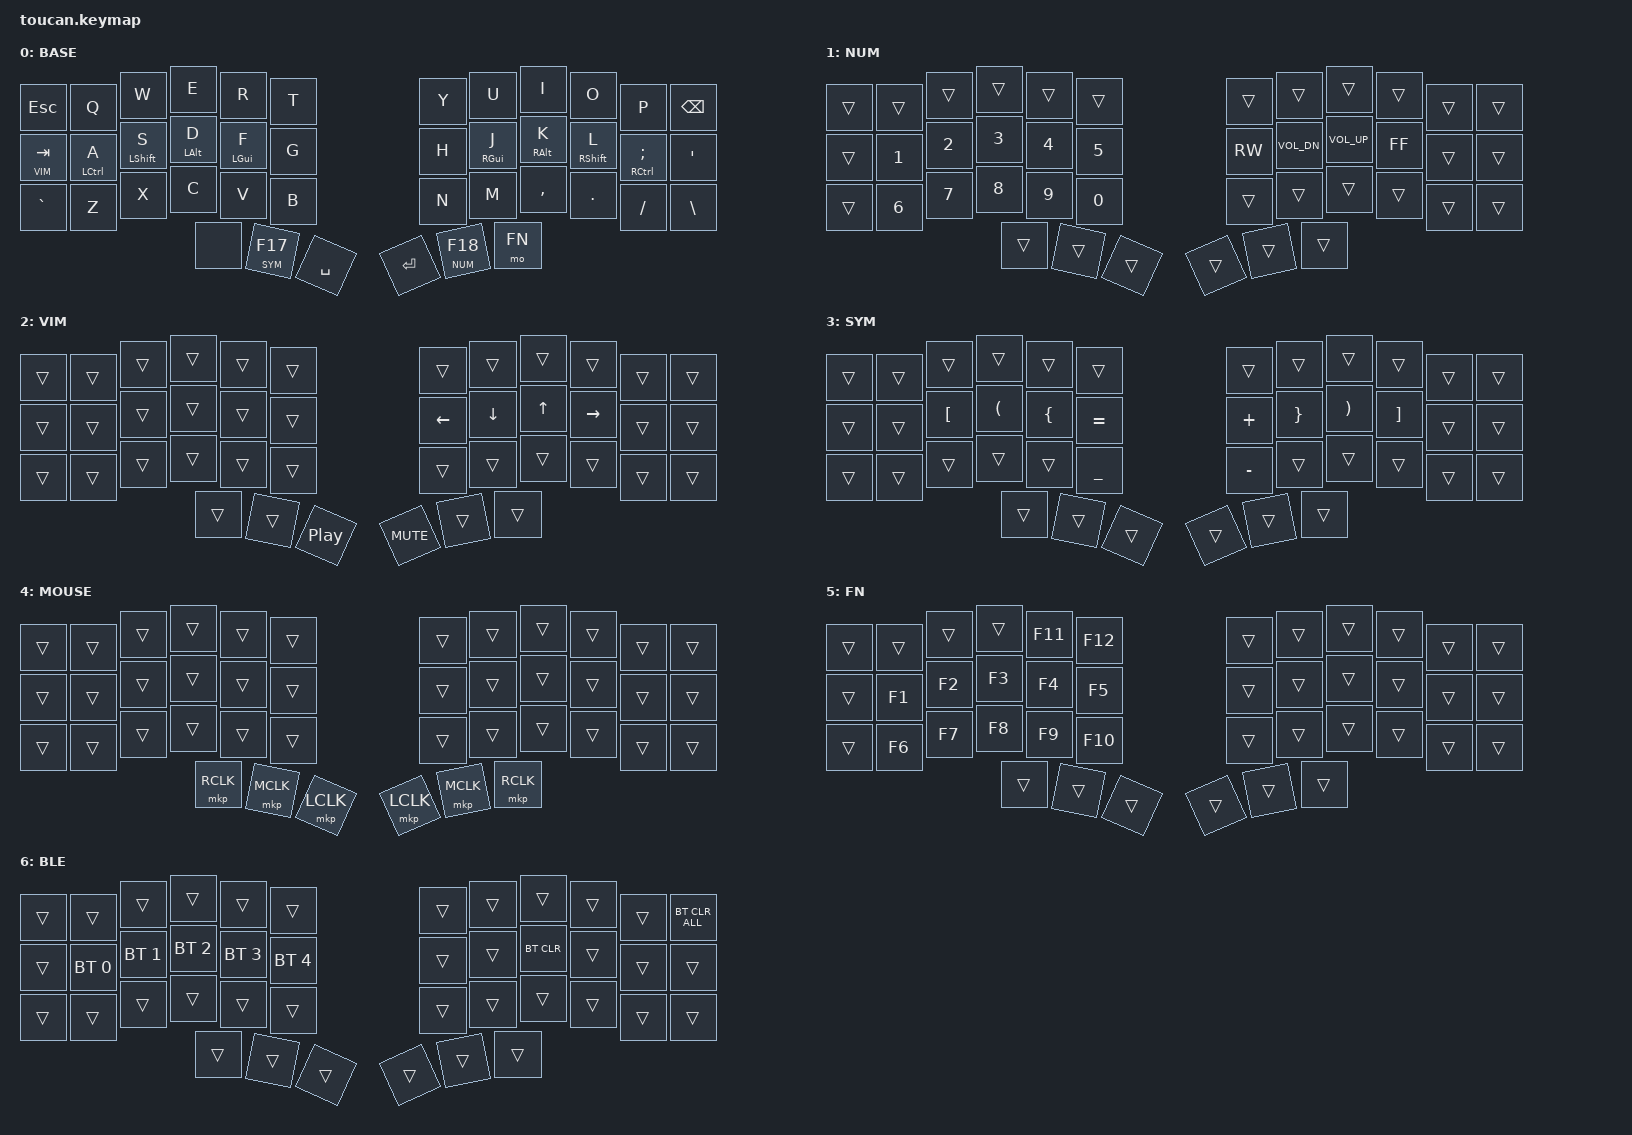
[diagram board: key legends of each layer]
#include <behaviors.dtsi>
#include <dt-bindings/zmk/keys.h>
#include <dt-bindings/zmk/bt.h>
#include <dt-bindings/zmk/outputs.h>
#include <dt-bindings/zmk/pointing.h>

#define BASE  0
#define NUM   1
#define VIM   2
#define SYM   3
#define MOUSE 4
#define FN    5
#define BLE   6

/ {
    combos {
        compatible = "zmk,combos";
        // Hold both "main" thumb keys (SPACE + RET) together to reach
        // the BLE layer. They're physically adjacent -- the two
        // innermost thumb keys -- so it's a natural chord.
        combo_ble {
            timeout-ms = <50>;
            key-positions = <38 39>;
            bindings = <&mo BLE>;
            layers = <BASE>;
        };
    };

    behaviors {
        // Home-row mods.
        // Mirrors kanata: (tap-hold $tap-time $hold-time key mod) with
        // tap-time=150 hold-time=200.
        // ZMK's "tap-preferred" flavor is a pure timer-based decision
        // (a hold only fires once tapping-term-ms elapses; other keys
        // pressed in the meantime do NOT force a hold) -- this is exactly
        // how kanata's plain tap-hold behaves, and it's what gives it that
        // fast, non-laggy feel instead of the "wait and see" delay you get
        // from hold-preferred/balanced flavors.
        hm: home_row_mod {
            compatible = "zmk,behavior-hold-tap";
            #binding-cells = <2>;
            tapping-term-ms = <200>;
            quick-tap-ms = <150>;
            flavor = "tap-preferred";
            bindings = <&kp>, <&kp>;
        };

        // Layer-tap keys (tab / F17 / F18 / quote).
        // Mirrors kanata's (tap-hold 150 150 ...) -- tap-time == hold-time,
        // so the layer engages the instant 150ms is up, and tap fires
        // instantly on release before that.
        lt_fast: layer_tap_fast {
            compatible = "zmk,behavior-hold-tap";
            #binding-cells = <2>;
            tapping-term-ms = <150>;
            quick-tap-ms = <150>;
            flavor = "tap-preferred";
            bindings = <&mo>, <&kp>;
        };
    };

    keymap {
        compatible = "zmk,keymap";

        base {
            display-name = "BASE";
            bindings = <
                &kp ESC          &kp Q            &kp W            &kp E            &kp R          &kp T       &kp Y   &kp U            &kp I            &kp O             &kp P              &kp BSPC
                &lt_fast VIM TAB &hm LCTRL A      &hm LSHFT S      &hm LALT D       &hm LGUI F     &kp G       &kp H   &hm RGUI J       &hm RALT K       &hm RSHFT L       &hm RCTRL SEMI     &kp SQT
                &kp GRAVE        &kp Z            &kp X            &kp C            &kp V          &kp B       &kp N   &kp M            &kp COMMA        &kp DOT           &kp FSLH           &kp BSLH
                                                   &none            &lt_fast SYM F17 &kp SPACE      &kp RET     &lt_fast NUM F18 &mo FN
            >;
        };

        num {
            display-name = "NUM";
            bindings = <
                &trans   &trans  &trans  &trans  &trans  &trans      &trans     &trans       &trans       &trans     &trans    &trans
                &trans   &kp N1  &kp N2  &kp N3  &kp N4  &kp N5      &kp C_RW   &kp C_VOL_DN &kp C_VOL_UP &kp C_FF   &trans    &trans
                &trans   &kp N6  &kp N7  &kp N8  &kp N9  &kp N0      &trans     &trans       &trans       &trans     &trans    &trans
                                          &trans  &trans  &trans      &trans     &trans       &trans
            >;
        };

        vim {
            display-name = "VIM";
            bindings = <
                &trans   &trans  &trans  &trans  &trans  &trans      &trans    &trans     &trans   &trans      &trans  &trans
                &trans   &trans  &trans  &trans  &trans  &trans      &kp LEFT  &kp DOWN   &kp UP   &kp RIGHT   &trans  &trans
                &trans   &trans  &trans  &trans  &trans  &trans      &trans    &trans     &trans   &trans      &trans  &trans
                                          &trans  &trans  &kp C_PP    &kp C_MUTE &trans    &trans
            >;
        };

        sym {
            display-name = "SYM";
            bindings = <
                &trans   &trans  &trans    &trans     &trans     &trans        &trans     &trans     &trans     &trans   &trans  &trans
                &trans   &trans  &kp LBKT  &kp LPAR   &kp LBRC   &kp EQUAL     &kp PLUS   &kp RBRC   &kp RPAR   &kp RBKT &trans  &trans
                &trans   &trans  &trans    &trans     &trans     &kp UNDER     &kp MINUS  &trans     &trans     &trans   &trans  &trans
                                            &trans     &trans     &trans        &trans     &trans     &trans
            >;
        };

        mouse {
            // Auto-activated by the trackpad hardware itself while a
            // finger is touching it (is_touching_processor -> &mo 4 in
            // toucan.dtsi) -- not something reached by a key. Thumb keys
            // become click buttons for the duration of the touch, mirroring
            // stock Toucan2's "MOU" layer.
            display-name = "MOUSE";
            bindings = <
                &trans &trans &trans &trans &trans &trans           &trans &trans &trans &trans &trans &trans
                &trans &trans &trans &trans &trans &trans           &trans &trans &trans &trans &trans &trans
                &trans &trans &trans &trans &trans &trans           &trans &trans &trans &trans &trans &trans
                            &mkp RCLK &mkp MCLK &mkp LCLK           &mkp LCLK &mkp MCLK &mkp RCLK
            >;
        };

        fn {
            display-name = "FN";
            bindings = <
                &trans  &trans  &trans  &trans  &kp F11  &kp F12      &trans  &trans  &trans  &trans  &trans  &trans
                &trans  &kp F1  &kp F2  &kp F3  &kp F4   &kp F5       &trans  &trans  &trans  &trans  &trans  &trans
                &trans  &kp F6  &kp F7  &kp F8  &kp F9   &kp F10      &trans  &trans  &trans  &trans  &trans  &trans
                                         &trans  &trans   &trans       &trans  &trans  &trans
            >;
        };

        ble {
            display-name = "BLE";
            bindings = <
                &trans  &trans        &trans        &trans        &trans        &trans          &trans  &trans  &trans     &trans  &trans  &bt BT_CLR_ALL
                &trans  &bt BT_SEL 0  &bt BT_SEL 1  &bt BT_SEL 2  &bt BT_SEL 3  &bt BT_SEL 4    &trans  &trans  &bt BT_CLR &trans  &trans  &trans
                &trans  &trans        &trans        &trans        &trans        &trans          &trans  &trans  &trans     &trans  &trans  &trans
                                                     &trans        &trans        &trans          &trans  &trans  &trans
            >;
        };
    };
};
